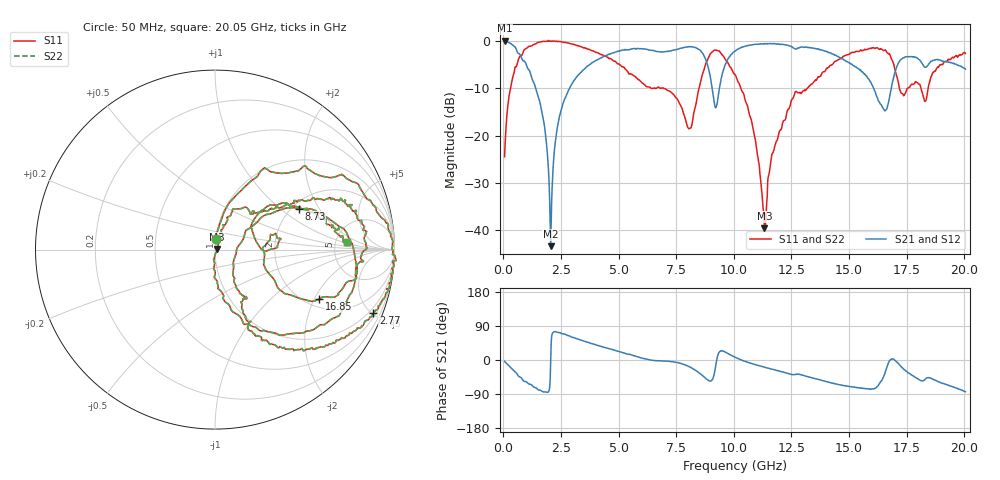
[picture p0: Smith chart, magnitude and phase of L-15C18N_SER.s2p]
#	mhz	s	ma	r	50
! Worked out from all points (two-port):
!   1001 points, 50 MHz to 20.05 GHz, reference 50 ohm
!   highest |S21| = 0.04 dB at 50 MHz (marker M1); lowest = -43.3 dB at 2.05 GHz (marker M2)
!   |S21| within 3 dB of the highest: 4.518 GHz to 8.689 GHz (4.172 GHz wide, 63.2 % of centre); 9.867 GHz to 14.36 GHz (4.494 GHz wide, 37.1 % of centre)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
!   lowest |S11| = -39.6 dB at 11.33 GHz (marker M3), VSWR 1.02, Z = 51 + j0.402 ohm
!   |S11| at or under -10 dB: 6.947 GHz to 8.489 GHz (1.542 GHz wide, 20 % of centre); 10.3 GHz to 13.19 GHz (2.885 GHz wide, 24.6 % of centre); 17.19 GHz to 17.55 GHz (368.3 MHz wide, 2.12 % of centre)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
!   |S22| runs from -39.6 to 0.1 dB; largest |S21 - S12| = 0
!   S11 on the Smith chart (normalised r, x): 50 MHz: 1.00, +0.12; 2.77 GHz: 0.69, -5.09; 8.73 GHz: 2.18, +1.36; 16.85 GHz: 2.33, -2.19; 20.05 GHz: 6.38, +1.14
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50  0.0598 84.2  1.004 -3.1  1.004 -3.1  0.0598 84.2
550  0.5326 54.5  0.8192 -33.5  0.8192 -33.5  0.5326 54.5
1470  0.9589 10.0  0.276 -76.5  0.276 -76.5  0.9589 10.0
2050  0.9983 -5.8  0.00681 -1.6  0.00681 -1.6  0.9983 -5.8
2330  0.9933 -12.6  0.1188 72.9  0.1188 72.9  0.9933 -12.6
2770  0.9511 -21.9  0.282 65.1  0.282 65.1  0.9511 -21.9
3390  0.8613 -34.7  0.4724 51.9  0.4724 51.9  0.8613 -34.7
6730  0.3263 -57.0  0.7701 -2.2  0.7701 -2.2  0.3263 -57.0
8070  0.1188 -15.7  0.8674 -17.9  0.8674 -17.9  0.1188 -15.7
8730  0.5198 26.0  0.6772 -46.0  0.6772 -46.0  0.5198 26.0
9210  0.7998 -13.2  0.1967 -15.9  0.1967 -15.9  0.7998 -13.2
10050  0.441 -68.9  0.7827 7.5  0.7827 7.5  0.441 -68.9
10830  0.1178 -90.3  0.9111 -10.4  0.9111 -10.4  0.1178 -90.3
11330  0.01052 22.0  0.93 -18.8  0.93 -18.8  0.01052 22.0
12050  0.1152 71.6  0.9193 -30.6  0.9193 -30.6  0.1152 71.6
13390  0.3508 37.8  0.8448 -47.1  0.8448 -47.1  0.3508 37.8
15430  0.777 18.7  0.5046 -73.6  0.5046 -73.6  0.777 18.7
16730  0.728 -19.6  0.2347 -5.0  0.2347 -5.0  0.728 -19.6
16850  0.6426 -25.4  0.3344 3.0  0.3344 3.0  0.6426 -25.4
17330  0.2766 -4.1  0.6549 -21.4  0.6549 -21.4  0.2766 -4.1
18290  0.2299 16.6  0.5274 -51.9  0.5274 -51.9  0.2299 16.6
20050  0.7364 3.2  0.5041 -83.6  0.5041 -83.6  0.7364 3.2
